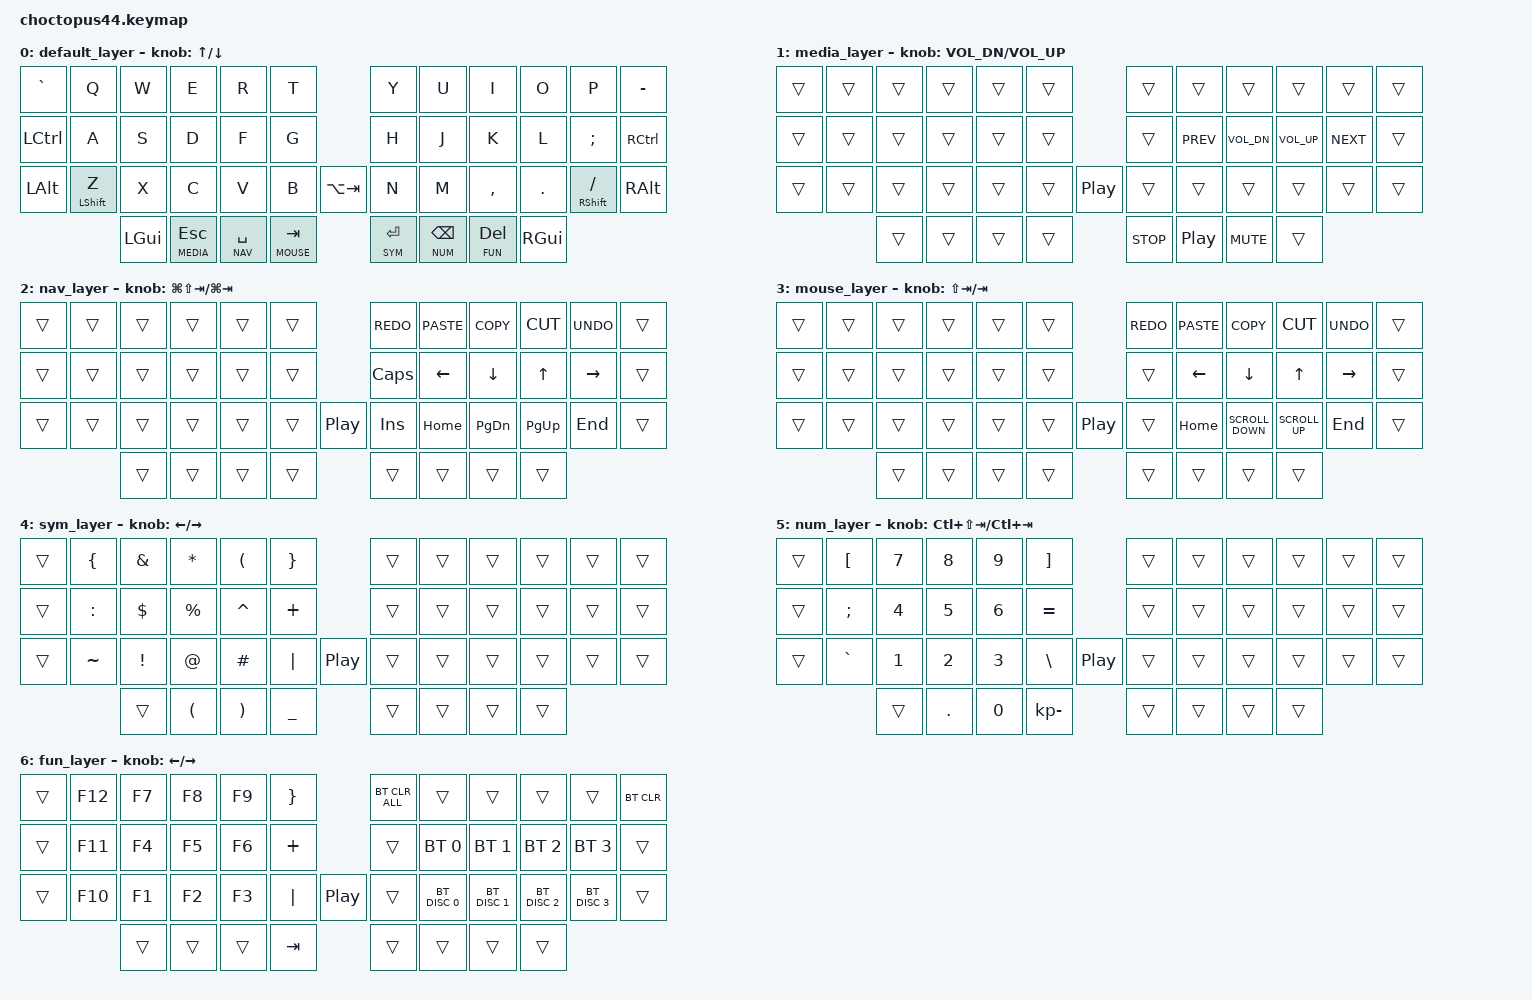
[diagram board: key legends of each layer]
#include <behaviors.dtsi>
#include <dt-bindings/zmk/keys.h>
#include <dt-bindings/zmk/bt.h>
#include <dt-bindings/zmk/rgb.h>

#define DEFAULT 0
#define MEDIA   1
#define NAV     2
#define MOUSE   3
#define SYM     4
#define NUM     5
#define FUN     6

&mt {
    tapping-term-ms = <800>;
};

&lt {
    tapping-term-ms = <400>;
};

/ {
  combos {
    #include "combos.dtsi"    
  };

  macros {
    #include "macros.dtsi"
  };

  keymap {
    compatible = "zmk,keymap";


    default_layer {
 //     bindings = <
 //       &kp GRAVE   &kp Q         &kp W         &kp F         &kp P         &kp B                 &kp J  &kp L         &kp U       &kp Y       &kp SEMI        &kp MINUS
 //       &kp LCTRL   &kp A         &kp R         &kp S         &kp T         &kp G                 &kp M  &kp N         &kp E       &kp I       &kp O           &kp RCTRL
 //       &kp LALT    &mt LSHFT Z   &kp X         &kp C         &kp D         &kp V  &kp LA(TAB)    &kp K  &kp H         &kp COMMA   &kp DOT     &mt RSHFT FSLH  &kp RALT
 //                       &kp LGUI  &lt MEDIA ESC  &lt NAV SPACE    &lt MOUSE TAB                  &lt SYM RET  &lt NUM BSPC  &lt FUN DEL    &kp RGUI 
 //     >;
      bindings = <
        &kp GRAVE     &kp Q     &kp W       &kp E     &kp R    &kp T                &kp Y     &kp U     &kp I      &kp O    &kp P     &kp MINUS
        &kp LCTRL     &kp A     &kp S       &kp D     &kp F    &kp G                &kp H     &kp J     &kp K      &kp L    &kp SEMI     &kp RCTRL
        &kp LALT   &mt LSHIFT Z     &kp X       &kp C     &kp V    &kp B      &kp LA(TAB)   &kp N     &kp M     &kp COMMA  &kp DOT  &mt RSHIFT FSLH  &kp RALT
                        &kp LGUI  &lt MEDIA ESC  &lt NAV SPACE    &lt MOUSE TAB                  &lt SYM RET  &lt NUM BSPC  &lt FUN DEL    &kp RGUI 
      >;
      sensor-bindings = <&inc_dec_kp UP DOWN>;
    };

    media_layer { 
      bindings = <
        &trans    &trans    &trans  &trans   &trans   &trans                          &trans      &trans            &trans        &trans        &trans      &trans
        &trans    &trans    &trans  &trans   &trans   &trans                          &trans      &kp K_PREV        &kp C_VOL_DN  &kp C_VOL_UP  &kp K_NEXT  &trans
        &trans    &trans    &trans  &trans   &trans   &trans    &kp C_PLAY_PAUSE      &trans      &trans            &trans        &trans        &trans        &trans
                         &trans  &trans   &trans   &trans                              &kp C_STOP  &kp C_PLAY_PAUSE  &kp C_MUTE    &trans
      >;
      sensor-bindings = <&inc_dec_kp C_VOL_DN C_VOL_UP>;
    };

    nav_layer { 
      bindings = <
        &trans    &trans    &trans  &trans   &trans   &trans                          &kp K_REDO          &kp K_PASTE     &kp K_COPY  &kp K_CUT   &kp K_UNDO  &trans
        &trans    &trans    &trans  &trans   &trans   &trans                          &kp CAPS            &kp LEFT        &kp DOWN    &kp UP      &kp RIGHT   &trans
        &trans    &trans    &trans  &trans   &trans   &trans    &kp C_PLAY_PAUSE      &kp INSERT          &kp HOME        &kp PG_DN   &kp PG_UP   &kp END     &trans
                         &trans  &trans   &trans   &trans                          &trans              &trans       &trans      &trans
      >;
      sensor-bindings = <&inc_dec_kp LG(LS(TAB)) LG(TAB)>;
    };

    mouse_layer { 
      bindings = <
        &trans    &trans    &trans  &trans   &trans   &trans                          &kp K_REDO  &kp K_PASTE   &kp K_COPY        &kp K_CUT       &kp K_UNDO  &trans
        &trans    &trans    &trans  &trans   &trans   &trans                          &trans      &kp LEFT      &kp DOWN          &kp UP          &kp RIGHT   &trans
        &trans    &trans    &trans  &trans   &trans   &trans    &kp C_PLAY_PAUSE      &trans      &kp HOME      &kp K_SCROLL_DOWN &kp K_SCROLL_UP &kp END     &trans
                         &trans  &trans   &trans   &trans                          &trans      &trans       &trans      &trans
      >;
      sensor-bindings = <&inc_dec_kp LS(TAB) TAB>;
    };

    sym_layer { 
      bindings = <
        &trans    &kp LBRC    &kp AMPS  &kp ASTRK   &kp LPAR    &kp RBRC                        &trans     &trans     &trans      &trans      &trans    &trans
        &trans    &kp COLON   &kp DLLR  &kp PRCNT   &kp CARET   &kp PLUS                        &trans     &trans     &trans      &trans      &trans    &trans
        &trans    &kp TILDE   &kp EXCL  &kp AT      &kp POUND   &kp PIPE    &kp C_PLAY_PAUSE    &trans     &trans     &trans      &trans      &trans    &trans
                            &trans  &kp LPAR   &kp RPAR   &kp UNDER                             &trans     &trans     &trans      &trans
      >;
      sensor-bindings = <&inc_dec_kp LEFT RIGHT>;
    };

    num_layer { 
      bindings = <
        &trans    &kp LBKT   &kp N7  &kp N8   &kp N9  &kp RBKT                            &trans     &trans     &trans      &trans      &trans    &trans
        &trans    &kp SEMI   &kp N4  &kp N5   &kp N6  &kp EQUAL                           &trans     &trans     &trans      &trans      &trans    &trans
        &trans    &kp GRAVE  &kp N1  &kp N2   &kp N3  &kp BSLH        &kp C_PLAY_PAUSE    &trans     &trans     &trans      &trans      &trans    &trans
                            &trans  &kp DOT   &kp N0  &kp KP_MINUS                             &trans     &trans     &trans      &trans
      >;
      sensor-bindings = <&inc_dec_kp LC(LS(TAB)) LC(TAB)>;
    };

    fun_layer { 
      bindings = <
        &trans    &kp F12   &kp F7  &kp F8   &kp F9  &kp RBRC                         &bt BT_CLR_ALL    &trans          &trans          &trans          &trans          &bt BT_CLR
        &trans    &kp F11   &kp F4  &kp F5   &kp F6  &kp PLUS                         &trans            &bt BT_SEL 0    &bt BT_SEL 1    &bt BT_SEL 2    &bt BT_SEL 3    &trans
        &trans    &kp F10   &kp F1  &kp F2   &kp F3  &kp PIPE     &kp C_PLAY_PAUSE    &trans            &bt BT_DISC 0   &bt BT_DISC 1   &bt BT_DISC 2   &bt BT_DISC 3   &trans
                            &trans  &trans   &trans  &kp TAB                          &trans            &trans          &trans      &trans
      >;
      sensor-bindings = <&inc_dec_kp LEFT RIGHT>;
    };

  };
};
